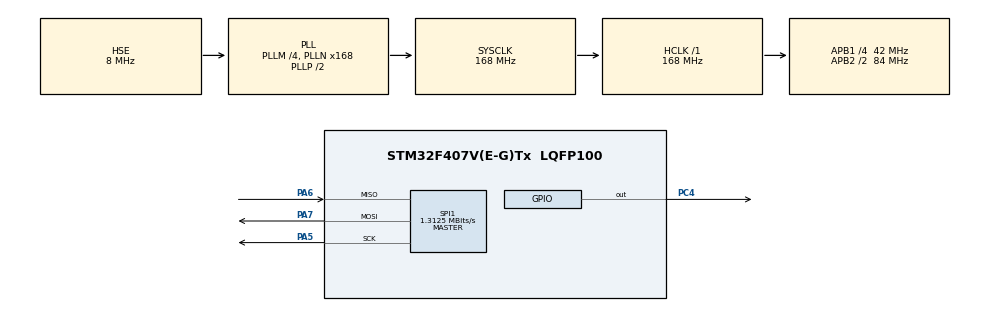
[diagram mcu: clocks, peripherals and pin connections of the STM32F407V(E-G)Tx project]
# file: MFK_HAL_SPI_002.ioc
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FATFS._MAX_SS=4096
FATFS._USE_LFN=1
Mcu.Family=STM32F4
Mcu.Name=STM32F407V(E-G)Tx
Mcu.Package=LQFP100
NVIC.PriorityGroup=NVIC_PRIORITYGROUP_4
PA13.Mode=Serial_Wire
PA13.Signal=SYS_JTMS-SWDIO
PA14.Mode=Serial_Wire
PA14.Signal=SYS_JTCK-SWCLK
PA5.Mode=Full_Duplex_Master
PA5.Signal=SPI1_SCK
PA6.Mode=Full_Duplex_Master
PA6.Signal=SPI1_MISO
PA7.Mode=Full_Duplex_Master
PA7.Signal=SPI1_MOSI
PC4.Signal=GPIO_Output
PH0-OSC_IN.Mode=HSE-External-Oscillator
PH0-OSC_IN.Signal=RCC_OSC_IN
PH1-OSC_OUT.Mode=HSE-External-Oscillator
PH1-OSC_OUT.Signal=RCC_OSC_OUT
ProjectManager.HeapSize=0x200
ProjectManager.StackSize=0x400
ProjectManager.TargetToolchain=STM32CubeIDE
RCC.48MHZClocksFreq_Value=84000000
RCC.AHBFreq_Value=168000000
RCC.APB1CLKDivider=RCC_HCLK_DIV4
RCC.APB1Freq_Value=42000000
RCC.APB1TimFreq_Value=84000000
RCC.APB2CLKDivider=RCC_HCLK_DIV2
RCC.APB2Freq_Value=84000000
RCC.APB2TimFreq_Value=168000000
RCC.CortexFreq_Value=168000000
RCC.HCLKFreq_Value=168000000
RCC.HSE_VALUE=8000000
RCC.HSI_VALUE=16000000
RCC.LSE_VALUE=32768
RCC.PLLM=4
RCC.PLLN=168
RCC.PLLSourceVirtual=RCC_PLLSOURCE_HSE
RCC.SYSCLKFreq_VALUE=168000000
RCC.SYSCLKSource=RCC_SYSCLKSOURCE_PLLCLK
RCC.VCOOutputFreq_Value=336000000
SPI1.BaudRatePrescaler=SPI_BAUDRATEPRESCALER_64
SPI1.CalculateBaudRate=1.3125 MBits/s
SPI1.Direction=SPI_DIRECTION_2LINES
SPI1.Mode=SPI_MODE_MASTER
SPI1.VirtualType=VM_MASTER
VP_FATFS_VS_Generic.Mode=User_defined
board=custom

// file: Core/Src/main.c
/* USER CODE BEGIN Header */
/**
  ******************************************************************************
  * @file           : main.c
  * @brief          : Main program body
  ******************************************************************************
  * @attention
  *
  * Copyright (c) 2023 STMicroelectronics.
  * All rights reserved.
  *
  * This software is licensed under terms that can be found in the LICENSE file
  * in the root directory of this software component.
  * If no LICENSE file comes with this software, it is provided AS-IS.
  *
  ******************************************************************************
  */
/* USER CODE END Header */
#include "main.h"
#include "fatfs.h"

/* USER CODE BEGIN Includes */

#include "fatfs_sd.h"
#include "string.h"

/* USER CODE END Includes */

SPI_HandleTypeDef hspi1;

void SystemClock_Config(void);
static void MX_GPIO_Init(void);
static void MX_SPI1_Init(void);

/* USER CODE BEGIN 0 */

FATFS fs; // Dosya Sistemi
FIL file; // Dosya
FRESULT fresult;
char buffer[1024];

UINT br,bw;

FATFS *pfs;
DWORD fre_clust;
uint32_t total,free_space;

int buffSize(char *buffer)
{
	//for(int i = 0;buffSize[i] != '\0';i++);
	int i = 0;
	while(*buffer++ != '\0')
		i++;
	return i;
}

void bufferClear(void)
{
	for(int i = 0;i < 1024;i++)
	{
		buffer[i] = '\0';
	}

}

/* USER CODE END 0 */

int main(void)
{

  /* MCU Configuration--------------------------------------------------------*/

  /* Reset of all peripherals, Initializes the Flash interface and the Systick. */
  HAL_Init();

  /* Configure the system clock */
  SystemClock_Config();

  /* Initialize all configured peripherals */
  MX_GPIO_Init();
  MX_SPI1_Init();
  MX_FATFS_Init();
  /* USER CODE BEGIN 2 */

  fresult = f_mount(&fs,"",0);

  f_getfree(buffer, &fre_clust, &pfs);

  total = (uint32_t)((pfs->n_fatent -2) * pfs->csize * 0.5);

  free_space = (uint32_t)(fre_clust * pfs->csize * 0.5);

  fresult = f_open(&file, "myFirstFile.txt", FA_CREATE_ALWAYS | FA_READ | FA_WRITE);

  f_puts("Merhaba Dunya.", &file);

  fresult = f_close(&file);

  /* USER CODE END 2 */

  /* Infinite loop */
  while (1)
  {

  }
}

void SystemClock_Config(void)
{
  RCC_OscInitTypeDef RCC_OscInitStruct = {0};
  RCC_ClkInitTypeDef RCC_ClkInitStruct = {0};

  /** Configure the main internal regulator output voltage
  */
  __HAL_RCC_PWR_CLK_ENABLE();
  __HAL_PWR_VOLTAGESCALING_CONFIG(PWR_REGULATOR_VOLTAGE_SCALE1);

  /** Initializes the RCC Oscillators according to the specified parameters
  * in the RCC_OscInitTypeDef structure.
  */
  RCC_OscInitStruct.OscillatorType = RCC_OSCILLATORTYPE_HSE;
  RCC_OscInitStruct.HSEState = RCC_HSE_ON;
  RCC_OscInitStruct.PLL.PLLState = RCC_PLL_ON;
  RCC_OscInitStruct.PLL.PLLSource = RCC_PLLSOURCE_HSE;
  RCC_OscInitStruct.PLL.PLLM = 4;
  RCC_OscInitStruct.PLL.PLLN = 168;
  RCC_OscInitStruct.PLL.PLLP = RCC_PLLP_DIV2;
  RCC_OscInitStruct.PLL.PLLQ = 4;
  if (HAL_RCC_OscConfig(&RCC_OscInitStruct) != HAL_OK)
  {
    Error_Handler();
  }

  /** Initializes the CPU, AHB and APB buses clocks
  */
  RCC_ClkInitStruct.ClockType = RCC_CLOCKTYPE_HCLK|RCC_CLOCKTYPE_SYSCLK
                              |RCC_CLOCKTYPE_PCLK1|RCC_CLOCKTYPE_PCLK2;
  RCC_ClkInitStruct.SYSCLKSource = RCC_SYSCLKSOURCE_PLLCLK;
  RCC_ClkInitStruct.AHBCLKDivider = RCC_SYSCLK_DIV1;
  RCC_ClkInitStruct.APB1CLKDivider = RCC_HCLK_DIV4;
  RCC_ClkInitStruct.APB2CLKDivider = RCC_HCLK_DIV2;

  if (HAL_RCC_ClockConfig(&RCC_ClkInitStruct, FLASH_LATENCY_5) != HAL_OK)
  {
    Error_Handler();
  }
}

static void MX_SPI1_Init(void)
{

  /* SPI1 parameter configuration*/
  hspi1.Instance = SPI1;
  hspi1.Init.Mode = SPI_MODE_MASTER;
  hspi1.Init.Direction = SPI_DIRECTION_2LINES;
  hspi1.Init.DataSize = SPI_DATASIZE_8BIT;
  hspi1.Init.CLKPolarity = SPI_POLARITY_LOW;
  hspi1.Init.CLKPhase = SPI_PHASE_1EDGE;
  hspi1.Init.NSS = SPI_NSS_SOFT;
  hspi1.Init.BaudRatePrescaler = SPI_BAUDRATEPRESCALER_64;
  hspi1.Init.FirstBit = SPI_FIRSTBIT_MSB;
  hspi1.Init.TIMode = SPI_TIMODE_DISABLE;
  hspi1.Init.CRCCalculation = SPI_CRCCALCULATION_DISABLE;
  hspi1.Init.CRCPolynomial = 10;
  if (HAL_SPI_Init(&hspi1) != HAL_OK)
  {
    Error_Handler();
  }

}

static void MX_GPIO_Init(void)
{
  GPIO_InitTypeDef GPIO_InitStruct = {0};

  /* GPIO Ports Clock Enable */
  __HAL_RCC_GPIOH_CLK_ENABLE();
  __HAL_RCC_GPIOA_CLK_ENABLE();
  __HAL_RCC_GPIOC_CLK_ENABLE();

  /*Configure GPIO pin Output Level */
  HAL_GPIO_WritePin(GPIOC, GPIO_PIN_4, GPIO_PIN_RESET);

  /*Configure GPIO pin : PC4 */
  GPIO_InitStruct.Pin = GPIO_PIN_4;
  GPIO_InitStruct.Mode = GPIO_MODE_OUTPUT_PP;
  GPIO_InitStruct.Pull = GPIO_NOPULL;
  GPIO_InitStruct.Speed = GPIO_SPEED_FREQ_LOW;
  HAL_GPIO_Init(GPIOC, &GPIO_InitStruct);

}

void Error_Handler(void)
{
  __disable_irq();
  while (1)
  {
  }
}
